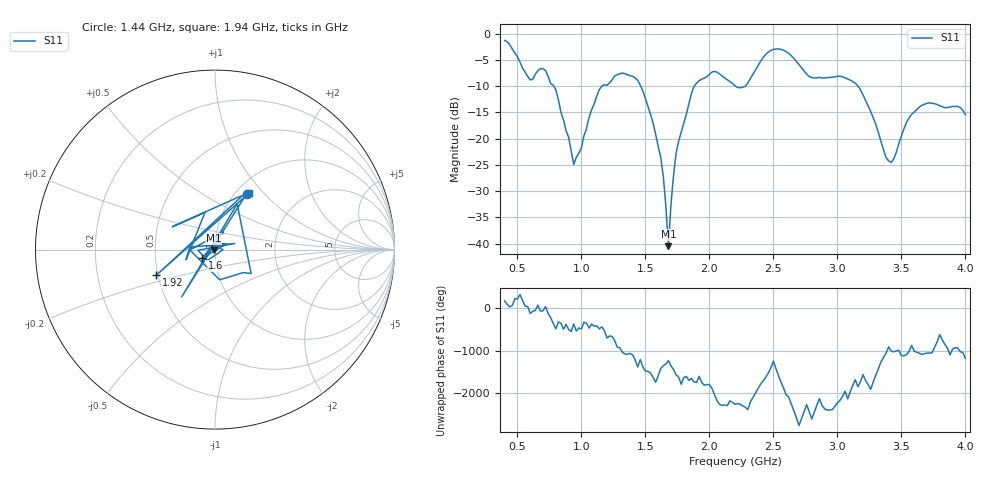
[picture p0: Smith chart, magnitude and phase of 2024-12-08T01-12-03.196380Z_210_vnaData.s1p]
!Created with skrf (http://scikit-rf.org).
# Hz S RI R 50.0
!freq ReS11 ImS11
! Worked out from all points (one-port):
!   181 points, 400 MHz to 4 GHz, reference 50 ohm
!   lowest |S11| = -40.5 dB at 1.68 GHz (marker M1), VSWR 1.02, Z = 49.2 - j0.474 ohm
!   |S11| at or under -10 dB: 783.8 MHz to 1.16 GHz (376.6 MHz wide, 38.7 % of centre); 1.463 GHz to 1.882 GHz (419.6 MHz wide, 25.1 % of centre); 3.16 GHz to end of sweep (the widest 3 of 4)
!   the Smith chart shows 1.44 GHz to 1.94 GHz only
!   S11 on the Smith chart (normalised r, x): 1.44 GHz: 1.12, +0.80; 1.6 GHz: 0.87, -0.08; 1.92 GHz: 0.49, -0.16; 1.94 GHz: 1.14, +0.83
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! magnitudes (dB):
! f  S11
! 400 MHz  -1.3
! 600 MHz  -8.8
! 720 MHz  -7.0
! 860 MHz  -16.4
! 940 MHz  -24.9
! 1.14 GHz  -10.7
! 1.3 GHz  -7.7
! 1.44 GHz  -8.9
! 1.6 GHz  -21.5
! 1.64 GHz  -27.3
! 1.68 GHz  -40.5
! 1.72 GHz  -27.0
! 1.76 GHz  -20.5
! 1.86 GHz  -11.4
! 1.92 GHz  -9.0
! 1.94 GHz  -8.7
! 2.04 GHz  -7.2
! 2.2 GHz  -9.9
! 2.28 GHz  -10.0
! 2.48 GHz  -3.2
! 2.66 GHz  -4.7
! 2.8 GHz  -8.4
! 3.1 GHz  -8.9
! 3.2 GHz  -11.7
! 3.42 GHz  -24.6
! 3.56 GHz  -16.1
! 3.72 GHz  -13.2
! 4 GHz  -15.5
